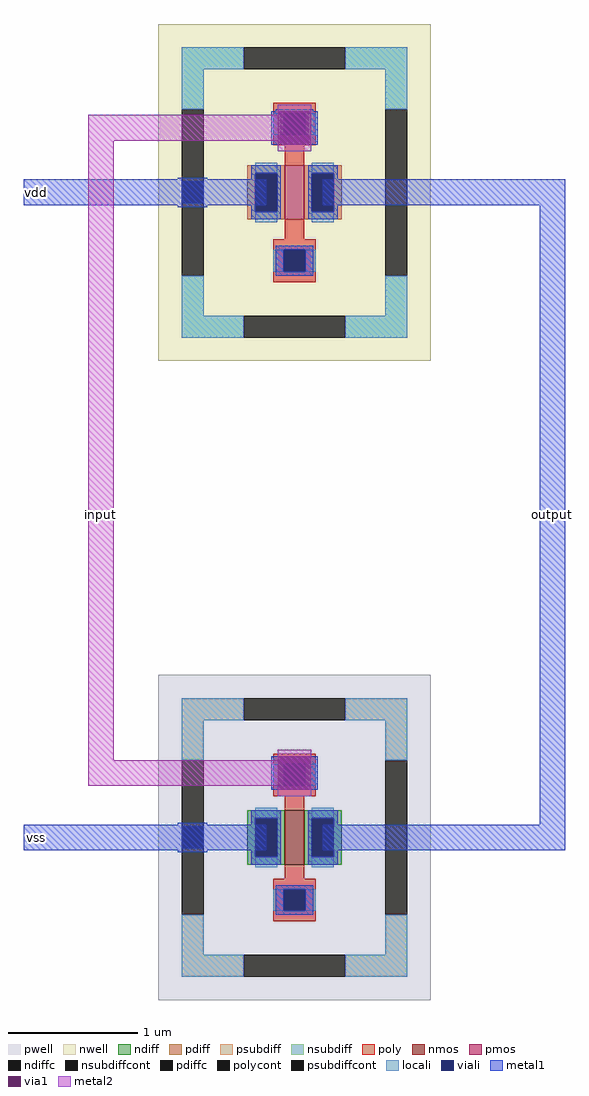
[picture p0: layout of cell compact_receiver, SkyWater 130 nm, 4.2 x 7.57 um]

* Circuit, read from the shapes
.subckt compact_receiver input output vdd vss
XM1 output input vss vss sky130_fd_pr__nfet_01v8 w=0.42 l=0.15
XM2 output input vdd vdd sky130_fd_pr__pfet_01v8 w=0.42 l=0.15
.ends

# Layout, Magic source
magic
tech sky130A
magscale 1 2
<< pwell >>
rect -211 -252 211 252
<< nmos >>
rect -15 -42 15 42
<< ndiff >>
rect -73 30 -15 42
rect -73 -30 -61 30
rect -27 -30 -15 30
rect -73 -42 -15 -30
rect 15 30 73 42
rect 15 -30 27 30
rect 61 -30 73 30
rect 15 -42 73 -30
<< ndiffc >>
rect -61 -30 -27 30
rect 27 -30 61 30
<< psubdiff >>
rect -175 182 -79 216
rect 79 182 175 216
rect -175 120 -141 182
rect 141 120 175 182
rect -175 -182 -141 -120
rect 141 -182 175 -120
rect -175 -216 -79 -182
rect 79 -216 175 -182
<< psubdiffcont >>
rect -79 182 79 216
rect -175 -120 -141 120
rect 141 -120 175 120
rect -79 -216 79 -182
<< poly >>
rect -33 114 33 130
rect -33 80 -17 114
rect 17 80 33 114
rect -33 64 33 80
rect -15 42 15 64
rect -15 -64 15 -42
rect -33 -80 33 -64
rect -33 -114 -17 -80
rect 17 -114 33 -80
rect -33 -130 33 -114
rect -33 1123 33 1139
rect -33 1089 -17 1123
rect 17 1089 33 1123
rect -33 1073 33 1089
rect -15 1042 15 1073
rect -15 927 15 958
rect -33 911 33 927
rect -33 877 -17 911
rect 17 877 33 911
rect -33 861 33 877
<< polycont >>
rect -17 80 17 114
rect -17 -114 17 -80
rect -17 1089 17 1123
rect -17 877 17 911
<< locali >>
rect -175 182 -79 216
rect 79 182 175 216
rect -175 120 -141 182
rect 141 120 175 182
rect -33 80 -17 114
rect 17 80 33 114
rect -61 30 -27 46
rect -61 -46 -27 -30
rect 27 30 61 46
rect 27 -46 61 -30
rect -33 -114 -17 -80
rect 17 -114 33 -80
rect -175 -182 -141 -120
rect 141 -182 175 -120
rect -175 -216 -79 -182
rect 79 -216 175 -182
rect -175 1191 -79 1225
rect 79 1191 175 1225
rect -175 1129 -141 1191
rect 141 1129 175 1191
rect -33 1089 -17 1123
rect 17 1089 33 1123
rect -61 1030 -27 1046
rect -61 954 -27 970
rect 27 1030 61 1046
rect 27 954 61 970
rect -33 877 -17 911
rect 17 877 33 911
rect -175 809 -141 871
rect 141 809 175 871
rect -175 775 -79 809
rect 79 775 175 809
<< viali >>
rect -17 80 17 114
rect -61 -30 -27 30
rect 27 -30 61 30
rect -17 -114 17 -80
rect -17 1089 17 1123
rect -61 970 -27 1030
rect 27 970 61 1030
rect -17 877 17 911
rect -175 -17 -141 17
rect -175 983 -141 1017
<< metal1 >>
rect -29 114 29 120
rect -29 80 -17 114
rect 17 80 29 114
rect -29 74 29 80
rect -67 30 -21 42
rect -67 -30 -61 30
rect -27 -30 -21 30
rect -67 -42 -21 -30
rect 21 30 67 42
rect 21 -30 27 30
rect 61 -30 67 30
rect 21 -42 67 -30
rect -29 -80 29 -74
rect -29 -114 -17 -80
rect 17 -114 29 -80
rect -29 -120 29 -114
rect -29 1123 29 1129
rect -29 1089 -17 1123
rect 17 1089 29 1123
rect -29 1083 29 1089
rect -67 1030 -21 1042
rect -67 970 -61 1030
rect -27 970 -21 1030
rect -67 958 -21 970
rect 21 1030 67 1042
rect 21 970 27 1030
rect 61 970 67 1030
rect 21 958 67 970
rect -29 911 29 917
rect -29 877 -17 911
rect 17 877 29 911
rect -29 871 29 877
rect -181 -23 -135 23
rect -420 -20 -44 20
rect 44 -20 420 20
rect -36 74 36 126
rect -181 977 -135 1023
rect -420 980 -44 1020
rect 44 980 420 1020
rect -36 1074 36 1126
rect 380 -20 420 1020
<< nwell >>
rect -211 739 211 1261
<< pmos >>
rect -15 958 15 1042
<< pdiff >>
rect -73 1030 -15 1042
rect -73 970 -61 1030
rect -27 970 -15 1030
rect -73 958 -15 970
rect 15 1030 73 1042
rect 15 970 27 1030
rect 61 970 73 1030
rect 15 958 73 970
<< pdiffc >>
rect -61 970 -27 1030
rect 27 970 61 1030
<< nsubdiff >>
rect -175 1191 -79 1225
rect 79 1191 175 1225
rect -175 1129 -141 1191
rect 141 1129 175 1191
rect -175 809 -141 871
rect 141 809 175 871
rect -175 775 -79 809
rect 79 775 175 809
<< nsubdiffcont >>
rect -79 1191 79 1225
rect -175 871 -141 1129
rect 141 871 175 1129
rect -79 775 79 809
<< via1 >>
rect -26 74 26 126
rect -26 1074 26 1126
<< metal2 >>
rect -26 64 26 136
rect -320 80 0 120
rect -26 1064 26 1136
rect -320 1080 0 1120
rect -320 80 -280 1120
<< labels >>
rlabel metal2 -310 490 -290 510 0 input
port 1 nsew
rlabel metal1 390 490 410 510 0 output
port 2 nsew
rlabel metal1 -410 990 -390 1010 0 vdd
port 3 nsew
rlabel metal1 -410 -10 -390 10 0 vss
port 4 nsew
<< end >>
